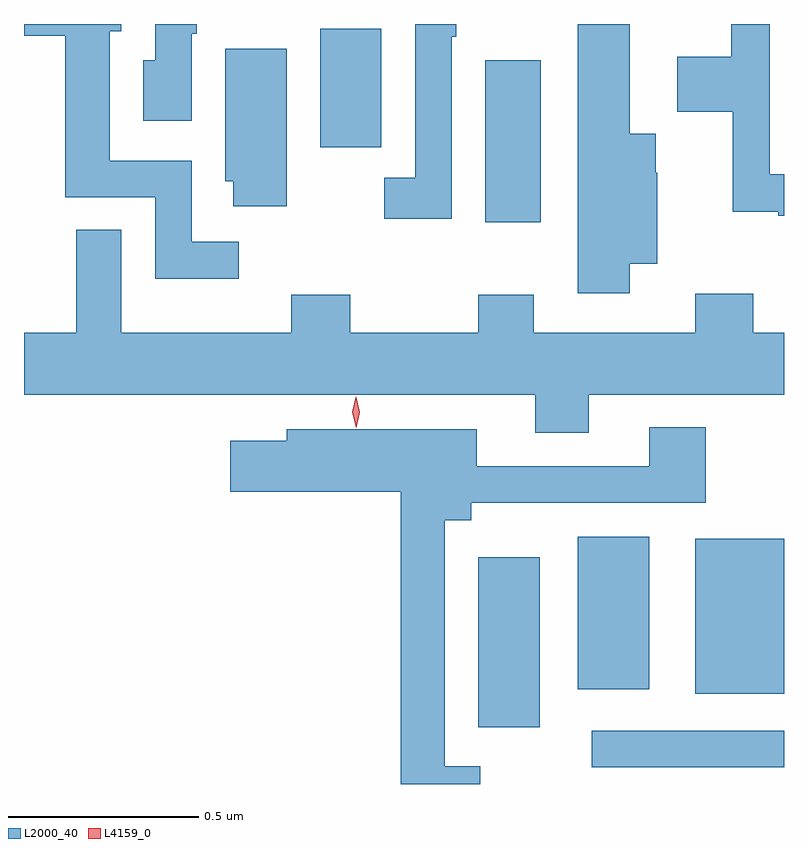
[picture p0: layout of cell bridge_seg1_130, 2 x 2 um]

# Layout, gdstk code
import gdstk
lib = gdstk.Library(unit=1e-6, precision=1e-09)
def R(c, l, rs):  # rectangles x0, y0, x1, y1
    for r in rs: c.add(gdstk.rectangle(r[:2], r[2:], *l))
def P(c, l, *ps):  # polygons
    for p in ps: c.add(gdstk.Polygon(p, *l))
L2000_40 = (2000, 40)
L4159_0 = (4159, 0)

bridge_seg1_130 = lib.new_cell('bridge_seg1_130')
R(bridge_seg1_130, L2000_40, [(497.955,518.784,498.461,518.88), (497.657,518.889,497.818,519.337), (498.227,518.978,498.461,519.385), (497.918,518.99,498.106,519.391), (497.675,520.218,497.821,520.645), (497.24,520.416,497.401,520.727)])
P(bridge_seg1_130, L2000_40, [(498.461,520.344),(498.423,520.344),(498.423,520.74),(498.322,520.74),(498.322,520.654),(498.18,520.654),(498.18,520.509),(498.326,520.509),(498.326,520.246),(498.446,520.246),(498.446,520.236),(498.461,520.236)],
  [(496.902,520.715),(496.915,520.715),(496.915,520.74),(496.806,520.74),(496.806,520.644),(496.775,520.644),(496.775,520.485),(496.902,520.485)],
  [(497.586,520.706),(497.599,520.706),(497.599,520.74),(497.49,520.74),(497.49,520.335),(497.409,520.335),(497.409,520.227),(497.586,520.227)],
  [(498.055,520.109),(498.127,520.109),(498.127,520.349),(498.124,520.349),(498.124,520.451),(498.055,520.451),(498.055,520.74),(497.918,520.74),(497.918,520.032),(498.055,520.032)],
  [(497.026,520.167),(496.902,520.167),(496.902,520.38),(496.687,520.38),(496.687,520.721),(496.717,520.721),(496.717,520.74),(496.461,520.74),(496.461,520.709),(496.569,520.709),(496.569,520.284),(496.806,520.284),(496.806,520.07),(497.026,520.07)],
  [(497.152,520.675),(496.991,520.675),(496.991,520.326),(497.012,520.326),(497.012,520.26),(497.152,520.26)],
  [(497.947,519.764),(498.461,519.764),(498.461,519.928),(498.38,519.928),(498.38,520.03),(498.227,520.03),(498.227,519.928),(497.803,519.928),(497.803,520.027),(497.656,520.027),(497.656,519.928),(497.319,519.928),(497.319,520.027),(497.164,520.027),(497.164,519.928),(496.717,519.928),(496.717,520.199),(496.599,520.199),(496.599,519.928),(496.461,519.928),(496.461,519.764),(497.807,519.764),(497.807,519.665),(497.947,519.665)],
  [(497.662,518.787),(497.568,518.787),(497.568,519.434),(497.638,519.434),(497.638,519.48),(498.255,519.48),(498.255,519.679),(498.107,519.679),(498.107,519.576),(497.653,519.576),(497.653,519.673),(497.153,519.673),(497.153,519.643),(497.004,519.643),(497.004,519.509),(497.452,519.509),(497.452,518.74),(497.662,518.74)])
P(bridge_seg1_130, L4159_0, [(497.335,519.677),(497.335,519.677),(497.325,519.718),(497.334,519.758),(497.335,519.759),(497.335,519.758),(497.345,519.718),(497.335,519.677)])

lib.write_gds('bridge_seg1_130.gds')
